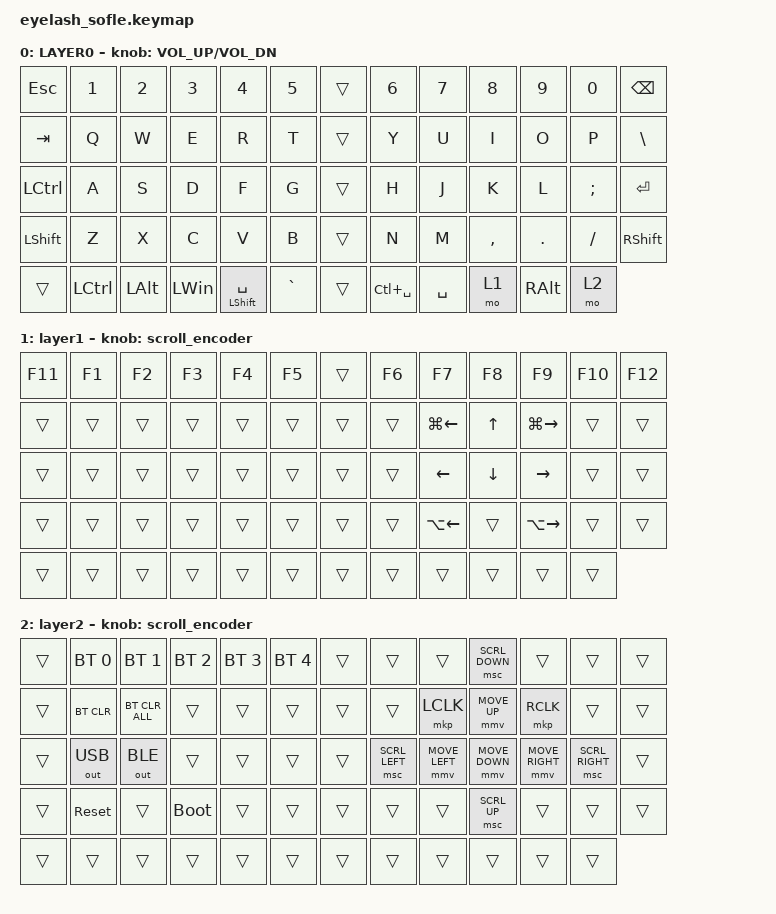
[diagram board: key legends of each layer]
#define ZMK_POINTING_DEFAULT_MOVE_VAL 1200  // 600
#define ZMK_POINTING_DEFAULT_SCRL_VAL 25   // 10

#include <input/processors.dtsi>
#include <zephyr/dt-bindings/input/input-event-codes.h>
#include <behaviors.dtsi>
#include <dt-bindings/zmk/bt.h>
#include <dt-bindings/zmk/keys.h>
#include <dt-bindings/zmk/outputs.h>
#include <dt-bindings/zmk/pointing.h>

&mmv_input_listener { input-processors = <&zip_xy_scaler 2 1>; };

&msc_input_listener { input-processors = <&zip_scroll_scaler 2 1>; };

&msc {
    acceleration-exponent = <1>;      // 0
    time-to-max-speed-ms = <100>;       // 300
    delay-ms = <0>;                   // 0
};

&mmv {
    time-to-max-speed-ms = <500>;
    acceleration-exponent = <1>;
    trigger-period-ms = <16>;
};

&soft_off { hold-time-ms = <2000>; };

/ {
    scroll_encoder: scroll_encoder {
        compatible = "zmk,behavior-sensor-rotate";
        #sensor-binding-cells = <0>;
        bindings = <&msc SCRL_DOWN>, <&msc SCRL_UP>;

        tap-ms = <100>;
    };

    behaviors {
    };

    combos {
        compatible = "zmk,combos";

        lp {
            bindings = <&kp LEFT_PARENTHESIS>;
            key-positions = <29 30>;
            layers = <0>;
        };

        lb {
            bindings = <&kp LEFT_BRACKET>;
            key-positions = <16 17>;
            layers = <0>;
        };

        lbc {
            bindings = <&kp LBRC>;
            key-positions = <42 43>;
            layers = <0>;
        };

        rp {
            bindings = <&kp RPAR>;
            key-positions = <34 35>;
            layers = <0>;
        };

        rb {
            bindings = <&kp RBKT>;
            key-positions = <21 22>;
            layers = <0>;
        };

        rbc {
            bindings = <&kp RBRC>;
            key-positions = <47 48>;
            layers = <0>;
        };

        eq {
            bindings = <&kp EQUAL>;
            key-positions = <28 29>;
            layers = <0>;
        };

        plus {
            bindings = <&kp PLUS>;
            key-positions = <15 16>;
            layers = <0>;
        };

        minus {
            bindings = <&kp MINUS>;
            key-positions = <35 36>;
            layers = <0>;
        };

        underscore {
            bindings = <&kp UNDER>;
            key-positions = <22 23>;
            layers = <0>;
        };

        squote {
            bindings = <&kp SINGLE_QUOTE>;
            key-positions = <41 42>;
            layers = <0>;
        };

        dquote {
            bindings = <&kp DOUBLE_QUOTES>;
            key-positions = <48 49>;
            layers = <0>;
        };

        colon {
            bindings = <&kp COLON>;
            key-positions = <34 35 36>;
            layers = <0>;
        };

        question {
            bindings = <&kp QUESTION>;
            key-positions = <47 48 49>;
            layers = <0>;
        };

        at {
            bindings = <&kp AT>;
            key-positions = <15 16 17>;
        };

        hash {
            bindings = <&kp HASH>;
            key-positions = <41 42 43>;
        };

        star {
            bindings = <&kp ASTERISK>;
            key-positions = <28 29 30>;
        };

        exclamation {
            bindings = <&kp EXCLAMATION>;
            key-positions = <21 22 23>;
        };
    };

    keymap {
        compatible = "zmk,keymap";

        layer_0 {
            bindings = <
&kp ESC           &kp N1     &kp N2        &kp N3        &kp N4                &kp N5       &trans  &kp N6         &kp N7     &kp N8     &kp N9         &kp N0    &kp BACKSPACE
&kp TAB           &kp Q      &kp W         &kp E         &kp R                 &kp T        &trans  &kp Y          &kp U      &kp I      &kp O          &kp P     &kp BSLH
&kp LEFT_CONTROL  &kp A      &kp S         &kp D         &kp F                 &kp G        &trans  &kp H          &kp J      &kp K      &kp L          &kp SEMI  &kp ENTER
&kp LSHFT         &kp Z      &kp X         &kp C         &kp V                 &kp B        &trans  &kp N          &kp M      &kp COMMA  &kp DOT        &kp FSLH  &kp RSHIFT
&trans            &kp LCTRL  &kp LEFT_ALT  &kp LEFT_WIN  &mt LEFT_SHIFT SPACE  &kp GRAVE    &trans  &kp LC(SPACE)  &kp SPACE  &mo 1      &kp RIGHT_ALT  &mo 2
            >;

            sensor-bindings = <&inc_dec_kp C_VOLUME_UP C_VOL_DN>;
            display-name = "LAYER0";
        };

        layer_1 {
            bindings = <
&kp F11  &kp F1  &kp F2  &kp F3  &kp F4  &kp F5    &trans  &kp F6  &kp F7        &kp F8    &kp F9         &kp F10  &kp F12
&trans   &trans  &trans  &trans  &trans  &trans    &trans  &trans  &kp LG(LEFT)  &kp UP    &kp LG(RIGHT)  &trans   &trans
&trans   &trans  &trans  &trans  &trans  &trans    &trans  &trans  &kp LEFT      &kp DOWN  &kp RIGHT      &trans   &trans
&trans   &trans  &trans  &trans  &trans  &trans    &trans  &trans  &kp LA(LEFT)  &trans    &kp LA(RIGHT)  &trans   &trans
&trans   &trans  &trans  &trans  &trans  &trans    &trans  &trans  &trans        &trans    &trans         &trans
            >;

            display-name = "layer1";
            sensor-bindings = <&scroll_encoder>;
        };

        layer_2 {
            bindings = <
&trans  &bt BT_SEL 0  &bt BT_SEL 1    &bt BT_SEL 2  &bt BT_SEL 3  &bt BT_SEL 4    &trans  &trans          &trans          &msc SCRL_DOWN  &trans           &trans           &trans
&trans  &bt BT_CLR    &bt BT_CLR_ALL  &trans        &trans        &trans          &trans  &trans          &mkp LCLK       &mmv MOVE_UP    &mkp RCLK        &trans           &trans
&trans  &out OUT_USB  &out OUT_BLE    &trans        &trans        &trans          &trans  &msc SCRL_LEFT  &mmv MOVE_LEFT  &mmv MOVE_DOWN  &mmv MOVE_RIGHT  &msc SCRL_RIGHT  &trans
&trans  &sys_reset    &trans          &bootloader   &trans        &trans          &trans  &trans          &trans          &msc SCRL_UP    &trans           &trans           &trans
&trans  &trans        &trans          &trans        &trans        &trans          &trans  &trans          &trans          &trans          &trans           &trans
            >;

            display-name = "layer2";
            sensor-bindings = <&scroll_encoder>;
        };
    };
};
